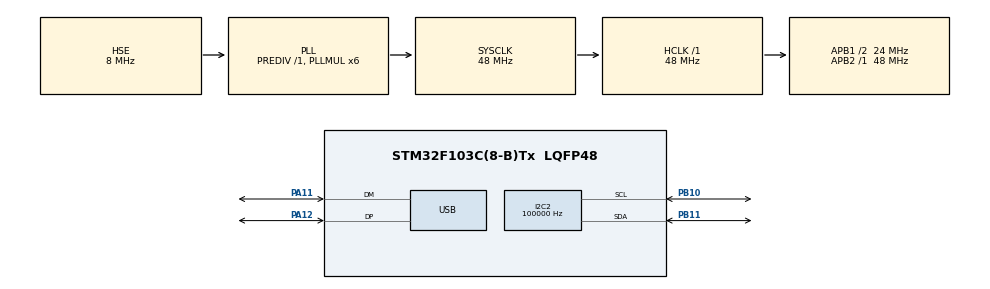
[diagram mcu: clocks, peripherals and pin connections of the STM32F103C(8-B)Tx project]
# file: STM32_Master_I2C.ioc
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I2C2.ClockSpeed=100000
I2C2.GeneralCallMode=I2C_GENERALCALL_DISABLE
I2C2.I2C_Mode=I2C_Standard
I2C2.NoStretchMode=I2C_NOSTRETCH_DISABLE
I2C2.OwnAddress=0
Mcu.Family=STM32F1
Mcu.Name=STM32F103C(8-B)Tx
Mcu.Package=LQFP48
NVIC.I2C2_EV_IRQn=true\:1\:0\:true\:false\:true\:true\:true
NVIC.PriorityGroup=NVIC_PRIORITYGROUP_4
NVIC.USB_LP_CAN1_RX0_IRQn=true\:0\:0\:false\:false\:true\:false\:true
PA11.Mode=Device
PA11.Signal=USB_DM
PA12.Mode=Device
PA12.Signal=USB_DP
PA13.Mode=Serial_Wire
PA13.Signal=SYS_JTMS-SWDIO
PA14.Mode=Serial_Wire
PA14.Signal=SYS_JTCK-SWCLK
PB10.Mode=I2C
PB10.Signal=I2C2_SCL
PB11.Mode=I2C
PB11.Signal=I2C2_SDA
PD0-OSC_IN.Mode=HSE-External-Oscillator
PD0-OSC_IN.Signal=RCC_OSC_IN
PD1-OSC_OUT.Mode=HSE-External-Oscillator
PD1-OSC_OUT.Signal=RCC_OSC_OUT
ProjectManager.HeapSize=0x200
ProjectManager.StackSize=0x400
ProjectManager.TargetToolchain=STM32CubeIDE
RCC.ADCPresc=RCC_ADCPCLK2_DIV4
RCC.AHBFreq_Value=48000000
RCC.APB1CLKDivider=RCC_HCLK_DIV2
RCC.APB1Freq_Value=24000000
RCC.APB1TimFreq_Value=48000000
RCC.APB2Freq_Value=48000000
RCC.APB2TimFreq_Value=48000000
RCC.HCLKFreq_Value=48000000
RCC.PLLMUL=RCC_PLL_MUL6
RCC.SYSCLKFreq_VALUE=48000000
RCC.SYSCLKSource=RCC_SYSCLKSOURCE_PLLCLK
RCC.USBFreq_Value=48000000
USB_DEVICE.CLASS_NAME_FS=CDC
USB_DEVICE.VirtualMode=Cdc
USB_DEVICE.VirtualModeFS=Cdc_FS
VP_USB_DEVICE_VS_USB_DEVICE_CDC_FS.Mode=CDC_FS
board=custom

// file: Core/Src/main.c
/* USER CODE BEGIN Header */
/**
 ******************************************************************************
 * @file           : main.c
 * @brief          : Main program body
 ******************************************************************************
 * @attention
 *
 * Copyright (c) 2021 STMicroelectronics.
 * All rights reserved.
 *
 * This software is licensed under terms that can be found in the LICENSE file
 * in the root directory of this software component.
 * If no LICENSE file comes with this software, it is provided AS-IS.
 *
 ******************************************************************************
 */
/* USER CODE END Header */
#include "main.h"
#include "i2c.h"
#include "usb_device.h"
#include "gpio.h"

/* USER CODE BEGIN Includes */

#include <stdio.h>
#include <stdbool.h>
#include "usbd_cdc_if.h"

/* USER CODE END Includes */

/* USER CODE BEGIN PD */

#define TIMEOUT 10

/* USER CODE END PD */

/* USER CODE BEGIN PV */

typedef struct {

	bool ledState;
	uint8_t lastDoneCommandNum;
	float adcVoltage;
	int16_t adcValue;
} StructToReceive;

/* USER CODE END PV */

void SystemClock_Config(void);

int main(void)
{

  /* MCU Configuration--------------------------------------------------------*/

  /* Reset of all peripherals, Initializes the Flash interface and the Systick. */
  HAL_Init();

  /* Configure the system clock */
  SystemClock_Config();

  /* Initialize all configured peripherals */
  MX_GPIO_Init();
  MX_I2C2_Init();
  MX_USB_DEVICE_Init();
  /* USER CODE BEGIN 2 */

	uint32_t rxDataTimer = uwTick;
	const uint16_t rxPeriod = 500; // Receive data from slave every 2 seconds.
	const uint16_t slaveAddress = 26; // Addres of the slave device - set in the slave programm - must be different for each slave.

  /* USER CODE END 2 */

  /* Infinite loop */
  /* USER CODE BEGIN WHILE */
	while (1) {

		// Receive data frame from Slave:
		if (uwTick - rxDataTimer > rxPeriod) {

			rxDataTimer = uwTick; // Reset the timer.

			StructToReceive rxStruct;
			uint8_t err = HAL_I2C_Master_Receive(&hi2c2, slaveAddress*2,
					(uint8_t*) &rxStruct, sizeof(rxStruct), TIMEOUT);

			char dataToUsb[256];
			// If received succesfully:
			if (!err) {

				// Print received data:
				sprintf(dataToUsb,
						"Led state: %d\nLast command: %d\nVoltage on ADC pin: %f\nValue on ADC pin: %d\n\n",
						(int) rxStruct.ledState,
						(int) rxStruct.lastDoneCommandNum, rxStruct.adcVoltage,
						(int) rxStruct.adcValue);

			} else {

				strcpy(dataToUsb, "Slave does not respond\n");
			}
			CDC_Transmit_FS((uint8_t*) dataToUsb, strlen(dataToUsb));
		}

    /* USER CODE END WHILE */

	}
}

void SystemClock_Config(void)
{
  RCC_OscInitTypeDef RCC_OscInitStruct = {0};
  RCC_ClkInitTypeDef RCC_ClkInitStruct = {0};
  RCC_PeriphCLKInitTypeDef PeriphClkInit = {0};

  /** Initializes the RCC Oscillators according to the specified parameters
  * in the RCC_OscInitTypeDef structure.
  */
  RCC_OscInitStruct.OscillatorType = RCC_OSCILLATORTYPE_HSE;
  RCC_OscInitStruct.HSEState = RCC_HSE_ON;
  RCC_OscInitStruct.HSEPredivValue = RCC_HSE_PREDIV_DIV1;
  RCC_OscInitStruct.HSIState = RCC_HSI_ON;
  RCC_OscInitStruct.PLL.PLLState = RCC_PLL_ON;
  RCC_OscInitStruct.PLL.PLLSource = RCC_PLLSOURCE_HSE;
  RCC_OscInitStruct.PLL.PLLMUL = RCC_PLL_MUL6;
  if (HAL_RCC_OscConfig(&RCC_OscInitStruct) != HAL_OK)
  {
    Error_Handler();
  }
  /** Initializes the CPU, AHB and APB buses clocks
  */
  RCC_ClkInitStruct.ClockType = RCC_CLOCKTYPE_HCLK|RCC_CLOCKTYPE_SYSCLK
                              |RCC_CLOCKTYPE_PCLK1|RCC_CLOCKTYPE_PCLK2;
  RCC_ClkInitStruct.SYSCLKSource = RCC_SYSCLKSOURCE_PLLCLK;
  RCC_ClkInitStruct.AHBCLKDivider = RCC_SYSCLK_DIV1;
  RCC_ClkInitStruct.APB1CLKDivider = RCC_HCLK_DIV2;
  RCC_ClkInitStruct.APB2CLKDivider = RCC_HCLK_DIV1;

  if (HAL_RCC_ClockConfig(&RCC_ClkInitStruct, FLASH_LATENCY_1) != HAL_OK)
  {
    Error_Handler();
  }
  PeriphClkInit.PeriphClockSelection = RCC_PERIPHCLK_USB;
  PeriphClkInit.UsbClockSelection = RCC_USBCLKSOURCE_PLL;
  if (HAL_RCCEx_PeriphCLKConfig(&PeriphClkInit) != HAL_OK)
  {
    Error_Handler();
  }
}

void Error_Handler(void)
{
	__disable_irq();
	while (1) {
	}
}
